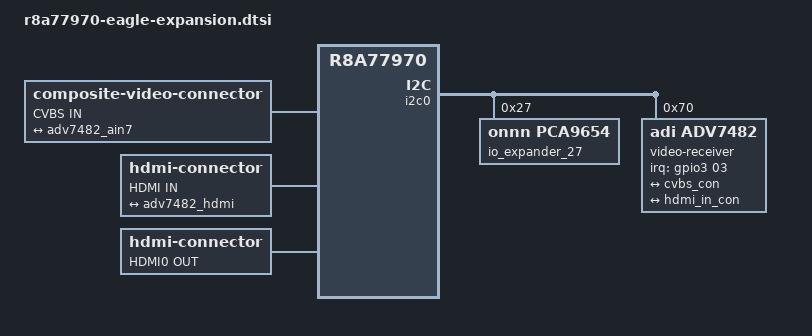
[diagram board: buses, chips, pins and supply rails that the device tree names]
/*
 * Device Tree Source for the Eagle V3M expansion board
 *
 * Copyright (C) 2017 Ideas on Board <kieran.bingham@ideasonboard.com>
 *
 * This file is licensed under the terms of the GNU General Public License
 * version 2.  This program is licensed "as is" without any warranty of any
 * kind, whether express or implied.
 */

/ {
	cvbs-in {
		compatible = "composite-video-connector";
		label = "CVBS IN";

		port {
			cvbs_con: endpoint {
				remote-endpoint = <&adv7482_ain7>;
			};
		};
	};

	hdmi-in {
		compatible = "hdmi-connector";
		label = "HDMI IN";
		type = "a";

		port {
			hdmi_in_con: endpoint {
				remote-endpoint = <&adv7482_hdmi>;
			};
		};
	};

	hdmi0-out {
		compatible = "hdmi-connector";
		label = "HDMI0 OUT";
		type = "a";

		port {
			hdmi0_con: endpoint {
			};
		};
	};
};

&i2c0 {
	/* GPIO Expander@27:
	 *   IO.0: ROUTE_I2C_ENn
	 *   IO.1: ALT_FUNC_ENn
	 *   IO.2: DU_RGB888_ENn
	 *   IO.3: VIN0_ADV7612_ENn
	 *
	 *   IO.4:
	 */
	io_expander_27: gpio@27 {
		compatible = "onnn,pca9654";
		reg = <0x27>;
		gpio-controller;
		#gpio-cells = <2>;
	};

	video-receiver@70 {
		compatible = "adi,adv7482";
		reg = <0x70>;

		#address-cells = <1>;
		#size-cells = <0>;

		interrupt-parent = <&gpio3>;
		interrupt-names = "intrq1", "intrq2";
		interrupts = <03 IRQ_TYPE_LEVEL_LOW>,
			     <04 IRQ_TYPE_LEVEL_LOW>;

		port@7 {
			reg = <7>;

			adv7482_ain7: endpoint {
				remote-endpoint = <&cvbs_con>;
			};
		};

		port@8 {
			reg = <8>;

			adv7482_hdmi: endpoint {
				remote-endpoint = <&hdmi_in_con>;
			};
		};

		port@10 {
			reg = <10>;

			adv7482_txa: endpoint {
				clock-lanes = <0>;
				data-lanes = <1 2 3 4>;
				// remote-endpoint = <&csi40_in>;
			};
		};
	};
 };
